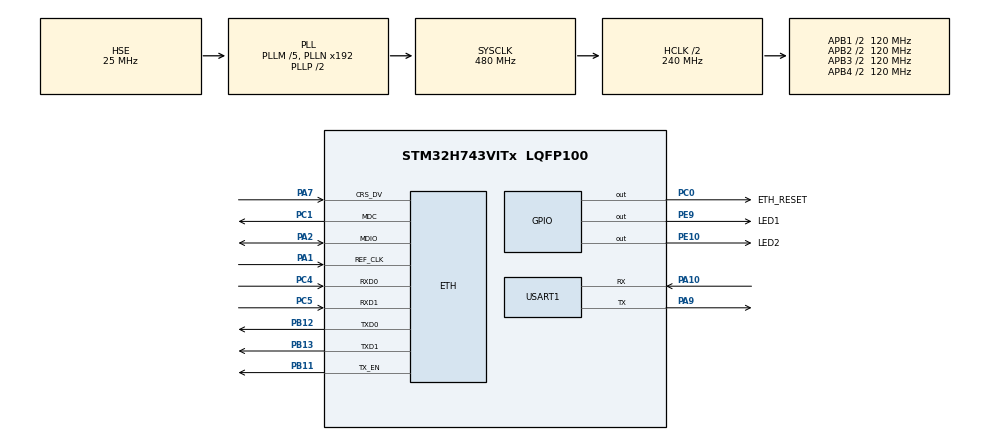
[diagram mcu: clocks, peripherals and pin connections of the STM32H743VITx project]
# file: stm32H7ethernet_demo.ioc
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CORTEX_M7.AccessPermission_S-Cortex_Memory_Protection_Unit_Region1_Settings_S=MPU_REGION_FULL_ACCESS
CORTEX_M7.AccessPermission_S-Cortex_Memory_Protection_Unit_Region2_Settings_S=MPU_REGION_FULL_ACCESS
CORTEX_M7.BaseAddress_S-Cortex_Memory_Protection_Unit_Region1_Settings_S=0x30040000
CORTEX_M7.BaseAddress_S-Cortex_Memory_Protection_Unit_Region2_Settings_S=0x30040000
CORTEX_M7.CPU_DCache=Disabled
CORTEX_M7.CPU_ICache=Disabled
CORTEX_M7.DisableExec_S-Cortex_Memory_Protection_Unit_Region1_Settings_S=MPU_INSTRUCTION_ACCESS_DISABLE
CORTEX_M7.DisableExec_S-Cortex_Memory_Protection_Unit_Region2_Settings_S=MPU_INSTRUCTION_ACCESS_DISABLE
CORTEX_M7.Enable_S-Cortex_Memory_Protection_Unit_Region1_Settings_S=MPU_REGION_ENABLE
CORTEX_M7.Enable_S-Cortex_Memory_Protection_Unit_Region2_Settings_S=MPU_REGION_ENABLE
CORTEX_M7.IsBufferable_S-Cortex_Memory_Protection_Unit_Region2_Settings_S=MPU_ACCESS_BUFFERABLE
CORTEX_M7.IsShareable_S-Cortex_Memory_Protection_Unit_Region1_Settings_S=MPU_ACCESS_SHAREABLE
CORTEX_M7.Size_S-Cortex_Memory_Protection_Unit_Region1_Settings_S=MPU_REGION_SIZE_32KB
CORTEX_M7.Size_S-Cortex_Memory_Protection_Unit_Region2_Settings_S=MPU_REGION_SIZE_256B
CORTEX_M7.TypeExtField_S-Cortex_Memory_Protection_Unit_Region1_Settings_S=MPU_TEX_LEVEL1
CORTEX_M7.default_mode_Activation=1
ETH.MediaInterface=HAL_ETH_RMII_MODE
ETH.RxBufferAddress=0x30042000
ETH.RxDescAddress=0x30040000
ETH.TxDescAddress=0x30040080
FREERTOS.Tasks01=BootstrapTask,24,128,StartBootstrapTask,Default,NULL,Dynamic,NULL,NULL;EthernetRxTask,32,256,StartEthernetRxTask,Default,NULL,Dynamic,NULL,NULL
Mcu.Family=STM32H7
Mcu.Name=STM32H743VITx
Mcu.Package=LQFP100
NVIC.ETH_IRQn=true\:5\:0\:false\:false\:true\:true\:true\:true\:true
NVIC.PriorityGroup=NVIC_PRIORITYGROUP_4
NVIC.TIM6_DAC_IRQn=true\:15\:0\:false\:false\:true\:false\:false\:true\:true
NVIC.TimeBase=TIM6_DAC_IRQn
NVIC.TimeBaseIP=TIM6
PA1.Mode=RMII
PA1.Signal=ETH_REF_CLK
PA10.Mode=Asynchronous
PA10.Signal=USART1_RX
PA2.Mode=RMII
PA2.Signal=ETH_MDIO
PA7.Mode=RMII
PA7.Signal=ETH_CRS_DV
PA9.Mode=Asynchronous
PA9.Signal=USART1_TX
PB11.Mode=RMII
PB11.Signal=ETH_TX_EN
PB12.Mode=RMII
PB12.Signal=ETH_TXD0
PB13.Mode=RMII
PB13.Signal=ETH_TXD1
PC0.GPIO_Label=ETH_RESET
PC0.Signal=GPIO_Output
PC1.Mode=RMII
PC1.Signal=ETH_MDC
PC14-OSC32_IN\ (OSC32_IN).Mode=LSE-External-Oscillator
PC14-OSC32_IN\ (OSC32_IN).Signal=RCC_OSC32_IN
PC15-OSC32_OUT\ (OSC32_OUT).Mode=LSE-External-Oscillator
PC15-OSC32_OUT\ (OSC32_OUT).Signal=RCC_OSC32_OUT
PC4.Mode=RMII
PC4.Signal=ETH_RXD0
PC5.Mode=RMII
PC5.Signal=ETH_RXD1
PE10.GPIO_Label=LED2
PE10.GPIO_PuPd=GPIO_PULLUP
PE10.GPIO_Speed=GPIO_SPEED_FREQ_MEDIUM
PE10.PinState=GPIO_PIN_SET
PE10.Signal=GPIO_Output
PE9.GPIO_Label=LED1
PE9.GPIO_PuPd=GPIO_PULLUP
PE9.GPIO_Speed=GPIO_SPEED_FREQ_MEDIUM
PE9.PinState=GPIO_PIN_SET
PE9.Signal=GPIO_Output
PH0-OSC_IN\ (PH0).Mode=HSE-External-Oscillator
PH0-OSC_IN\ (PH0).Signal=RCC_OSC_IN
PH1-OSC_OUT\ (PH1).Mode=HSE-External-Oscillator
PH1-OSC_OUT\ (PH1).Signal=RCC_OSC_OUT
ProjectManager.HeapSize=0x200
ProjectManager.StackSize=0x400
ProjectManager.TargetToolchain=CMake
RCC.ADCFreq_Value=50390625
RCC.APB1Freq_Value=120000000
RCC.APB2Freq_Value=120000000
RCC.APB3Freq_Value=120000000
RCC.APB4Freq_Value=120000000
RCC.CortexFreq_Value=480000000
RCC.D1PPRE=RCC_APB3_DIV2
RCC.D2PPRE1=RCC_APB1_DIV2
RCC.D2PPRE2=RCC_APB2_DIV2
RCC.D3PPRE=RCC_APB4_DIV2
RCC.DIVM1=5
RCC.DIVN1=192
RCC.HCLKFreq_Value=240000000
RCC.HPRE=RCC_HCLK_DIV2
RCC.PLLFRACN=0
RCC.PLLSourceVirtual=RCC_PLLSOURCE_HSE
RCC.SYSCLKFreq_VALUE=480000000
RCC.SYSCLKSource=RCC_SYSCLKSOURCE_PLLCLK
RCC.USBFreq_Value=480000000
USART1.VirtualMode-Asynchronous=VM_ASYNC
VP_FREERTOS_VS_CMSIS_V2.Mode=CMSIS_V2
VP_MEMORYMAP_VS_MEMORYMAP.Mode=CurAppReg
VP_SYS_VS_tim6.Mode=TIM6
board=custom

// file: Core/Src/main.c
/* USER CODE BEGIN Header */
/**
  ******************************************************************************
  * @file           : main.c
  * @brief          : Main program body
  ******************************************************************************
  * @attention
  *
  * Copyright (c) 2026 STMicroelectronics.
  * All rights reserved.
  *
  * This software is licensed under terms that can be found in the LICENSE file
  * in the root directory of this software component.
  * If no LICENSE file comes with this software, it is provided AS-IS.
  *
  ******************************************************************************
  */
/* USER CODE END Header */
#include "main.h"
#include "FreeRTOS.h"
#include "cmsis_os2.h"
#include "eth.h"
#include "usart.h"
#include "gpio.h"

/* USER CODE BEGIN Includes */
#include "ethernet_driver.h"
#include "ethernet_port.h"
/* USER CODE END Includes */

void SystemClock_Config(void);
static void MPU_Config(void);
void MX_FREERTOS_Init(void);

int main(void)
{

  /* MPU Configuration--------------------------------------------------------*/
  MPU_Config();

  /* MCU Configuration--------------------------------------------------------*/

  /* Reset of all peripherals, Initializes the Flash interface and the Systick. */
  HAL_Init();

  /* Configure the system clock */
  SystemClock_Config();

  /* USER CODE BEGIN SysInit */
  EthernetPort_PrepareDmaMemory();
  /* USER CODE END SysInit */

  /* Initialize all configured peripherals */
  MX_GPIO_Init();
  MX_USART1_UART_Init();
  MX_ETH_Init();
  /* USER CODE BEGIN 2 */
  EthernetDriver_Init();
  /* USER CODE END 2 */

  /* Init scheduler */
  osKernelInitialize();  /* Call init function for freertos objects (in cmsis_os2.c) */
  MX_FREERTOS_Init();

  /* Start scheduler */
  osKernelStart();

  /* We should never get here as control is now taken by the scheduler */

  /* Infinite loop */
  while (1)
  {

  }
}

void SystemClock_Config(void)
{
  RCC_OscInitTypeDef RCC_OscInitStruct = {0};
  RCC_ClkInitTypeDef RCC_ClkInitStruct = {0};

  /** Supply configuration update enable
  */
  HAL_PWREx_ConfigSupply(PWR_LDO_SUPPLY);

  /** Configure the main internal regulator output voltage
  */
  __HAL_PWR_VOLTAGESCALING_CONFIG(PWR_REGULATOR_VOLTAGE_SCALE0);

  while(!__HAL_PWR_GET_FLAG(PWR_FLAG_VOSRDY)) {}

  /** Initializes the RCC Oscillators according to the specified parameters
  * in the RCC_OscInitTypeDef structure.
  */
  RCC_OscInitStruct.OscillatorType = RCC_OSCILLATORTYPE_HSE;
  RCC_OscInitStruct.HSEState = RCC_HSE_ON;
  RCC_OscInitStruct.PLL.PLLState = RCC_PLL_ON;
  RCC_OscInitStruct.PLL.PLLSource = RCC_PLLSOURCE_HSE;
  RCC_OscInitStruct.PLL.PLLM = 5;
  RCC_OscInitStruct.PLL.PLLN = 192;
  RCC_OscInitStruct.PLL.PLLP = 2;
  RCC_OscInitStruct.PLL.PLLQ = 2;
  RCC_OscInitStruct.PLL.PLLR = 2;
  RCC_OscInitStruct.PLL.PLLRGE = RCC_PLL1VCIRANGE_2;
  RCC_OscInitStruct.PLL.PLLVCOSEL = RCC_PLL1VCOWIDE;
  RCC_OscInitStruct.PLL.PLLFRACN = 0;
  if (HAL_RCC_OscConfig(&RCC_OscInitStruct) != HAL_OK)
  {
    Error_Handler();
  }

  /** Initializes the CPU, AHB and APB buses clocks
  */
  RCC_ClkInitStruct.ClockType = RCC_CLOCKTYPE_HCLK|RCC_CLOCKTYPE_SYSCLK
                              |RCC_CLOCKTYPE_PCLK1|RCC_CLOCKTYPE_PCLK2
                              |RCC_CLOCKTYPE_D3PCLK1|RCC_CLOCKTYPE_D1PCLK1;
  RCC_ClkInitStruct.SYSCLKSource = RCC_SYSCLKSOURCE_PLLCLK;
  RCC_ClkInitStruct.SYSCLKDivider = RCC_SYSCLK_DIV1;
  RCC_ClkInitStruct.AHBCLKDivider = RCC_HCLK_DIV2;
  RCC_ClkInitStruct.APB3CLKDivider = RCC_APB3_DIV2;
  RCC_ClkInitStruct.APB1CLKDivider = RCC_APB1_DIV2;
  RCC_ClkInitStruct.APB2CLKDivider = RCC_APB2_DIV2;
  RCC_ClkInitStruct.APB4CLKDivider = RCC_APB4_DIV2;

  if (HAL_RCC_ClockConfig(&RCC_ClkInitStruct, FLASH_LATENCY_4) != HAL_OK)
  {
    Error_Handler();
  }
}

 /* MPU Configuration */

void MPU_Config(void)
{
  MPU_Region_InitTypeDef MPU_InitStruct = {0};

  /* Disables the MPU */
  HAL_MPU_Disable();

  /** Initializes and configures the Region and the memory to be protected
  */
  MPU_InitStruct.Enable = MPU_REGION_ENABLE;
  MPU_InitStruct.Number = MPU_REGION_NUMBER0;
  MPU_InitStruct.BaseAddress = 0x0;
  MPU_InitStruct.Size = MPU_REGION_SIZE_4GB;
  MPU_InitStruct.SubRegionDisable = 0x87;
  MPU_InitStruct.TypeExtField = MPU_TEX_LEVEL0;
  MPU_InitStruct.AccessPermission = MPU_REGION_NO_ACCESS;
  MPU_InitStruct.DisableExec = MPU_INSTRUCTION_ACCESS_DISABLE;
  MPU_InitStruct.IsShareable = MPU_ACCESS_SHAREABLE;
  MPU_InitStruct.IsCacheable = MPU_ACCESS_NOT_CACHEABLE;
  MPU_InitStruct.IsBufferable = MPU_ACCESS_NOT_BUFFERABLE;

  HAL_MPU_ConfigRegion(&MPU_InitStruct);

  /** Initializes and configures the Region and the memory to be protected
  */
  MPU_InitStruct.Number = MPU_REGION_NUMBER1;
  MPU_InitStruct.BaseAddress = 0x30040000;
  MPU_InitStruct.Size = MPU_REGION_SIZE_32KB;
  MPU_InitStruct.SubRegionDisable = 0x0;
  MPU_InitStruct.TypeExtField = MPU_TEX_LEVEL1;
  MPU_InitStruct.AccessPermission = MPU_REGION_FULL_ACCESS;

  HAL_MPU_ConfigRegion(&MPU_InitStruct);

  /** Initializes and configures the Region and the memory to be protected
  */
  MPU_InitStruct.Number = MPU_REGION_NUMBER2;
  MPU_InitStruct.Size = MPU_REGION_SIZE_256B;
  MPU_InitStruct.TypeExtField = MPU_TEX_LEVEL0;
  MPU_InitStruct.IsShareable = MPU_ACCESS_NOT_SHAREABLE;
  MPU_InitStruct.IsBufferable = MPU_ACCESS_BUFFERABLE;

  HAL_MPU_ConfigRegion(&MPU_InitStruct);
  /* Enables the MPU */
  HAL_MPU_Enable(MPU_PRIVILEGED_DEFAULT);

}

void HAL_TIM_PeriodElapsedCallback(TIM_HandleTypeDef *htim)
{
  if (htim->Instance == TIM6)
  {
    HAL_IncTick();
  }
}

void Error_Handler(void)
{
  __disable_irq();
  while (1)
  {
  }
}

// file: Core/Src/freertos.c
/* USER CODE BEGIN Header */
/**
  ******************************************************************************
  * File Name          : freertos.c
  * Description        : Code for freertos applications
  ******************************************************************************
  * @attention
  *
  * Copyright (c) 2026 STMicroelectronics.
  * All rights reserved.
  *
  * This software is licensed under terms that can be found in the LICENSE file
  * in the root directory of this software component.
  * If no LICENSE file comes with this software, it is provided AS-IS.
  *
  ******************************************************************************
  */
/* USER CODE END Header */

#include "FreeRTOS.h"
#include "task.h"
#include "main.h"
#include "FreeRTOS.h"
#include "cmsis_os2.h"

/* USER CODE BEGIN Includes */
#include <stdbool.h>
#include <stdio.h>

#include "ethernet_driver.h"
#include "ethernet_port.h"
#include "ethernet_rtos.h"
#include "lan8720.h"
/* USER CODE END Includes */

/* USER CODE BEGIN PD */
#define LAN8720_PHY_ADDRESS                 0U

#define PHY_READY_TIMEOUT_MS             100U
#define PHY_READY_POLL_PERIOD_MS           5U

#define AUTO_NEGOTIATION_TIMEOUT_MS      5000U
#define AUTO_NEGOTIATION_POLL_PERIOD_MS   100U

#define PHY_LINK_POLL_PERIOD_MS           200U

#define ETHERNET_RX_TEST_ETHERTYPE      0x88B5U
#define ETHERNET_RX_TEST_TARGET_COUNT   1000U
/* USER CODE END PD */

/* USER CODE BEGIN Variables */
static uint32_t g_ethernet_rx_frame_count;
static uint32_t g_ethernet_rx_test_frame_count;
/* USER CODE END Variables */
/* Definitions for BootstrapTask */
osThreadId_t BootstrapTaskHandle;
const osThreadAttr_t BootstrapTask_attributes = {
  .name = "BootstrapTask",
  .stack_size = 128 * 4,
  .priority = (osPriority_t) osPriorityNormal,
};
/* Definitions for EthernetRxTask */
osThreadId_t EthernetRxTaskHandle;
const osThreadAttr_t EthernetRxTask_attributes = {
  .name = "EthernetRxTask",
  .stack_size = 256 * 4,
  .priority = (osPriority_t) osPriorityAboveNormal,
};

/* USER CODE BEGIN FunctionPrototypes */
static bool EthernetBootstrap_StartMac(const Lan8720Status *phy_status);
static void EthernetDemo_RxFrameHandler(const uint8_t *frame, uint16_t length, void *context);
/* USER CODE END FunctionPrototypes */

void StartBootstrapTask(void *argument);
void StartEthernetRxTask(void *argument);

void MX_FREERTOS_Init(void); /* (MISRA C 2004 rule 8.1) */

void MX_FREERTOS_Init(void) {

  /* Create the thread(s) */
  /* creation of BootstrapTask */
  BootstrapTaskHandle = osThreadNew(StartBootstrapTask, NULL, &BootstrapTask_attributes);

  /* creation of EthernetRxTask */
  EthernetRxTaskHandle = osThreadNew(StartEthernetRxTask, NULL, &EthernetRxTask_attributes);

}

void StartBootstrapTask(void *argument)
{
  /* USER CODE BEGIN StartBootstrapTask */
  Lan8720Status phy_status = {0};
  bool phy_ready = false;

  Lan8720Status last_phy_status = {0};
  bool last_status_valid = false;

  uint32_t elapsed_ms = 0U;

  printf("[ETH] BootstrapTask started\r\n");

  /* MX_GPIO_Init() 已经将 PHY nRST 拉低。等待上电稳定后释放 PHY 硬件复位。 */
  osDelay(25U);
  EthernetPort_PhyResetRelease();

  while (elapsed_ms < PHY_READY_TIMEOUT_MS)
  {
    if (Lan8720_IsReady(LAN8720_PHY_ADDRESS))
    {
      phy_ready = true;
      break;
    }

    osDelay(PHY_READY_POLL_PERIOD_MS);
    elapsed_ms += PHY_READY_POLL_PERIOD_MS;
  }

  if (!phy_ready)
  {
    printf("[ETH] PHY ready timeout\r\n");
  }
  else
  {
    printf("[ETH] PHY ready\r\n");

    if (!Lan8720_RestartAutoNegotiation(LAN8720_PHY_ADDRESS))
    {
      printf("[ETH] Auto-negotiation restart failed\r\n");
    }
    else
    {
      printf("[ETH] Auto-negotiation started\r\n");

      elapsed_ms = 0U;

      while (elapsed_ms < AUTO_NEGOTIATION_TIMEOUT_MS)
      {
        if (!Lan8720_GetStatus(LAN8720_PHY_ADDRESS, &phy_status))
        {
          printf("[ETH] PHY status read failed\r\n");
          break;
        }

        if (phy_status.auto_negotiation_complete && phy_status.link_up)
        {
          break;
        }

        osDelay(AUTO_NEGOTIATION_POLL_PERIOD_MS);
        elapsed_ms += AUTO_NEGOTIATION_POLL_PERIOD_MS;
      }

      if (phy_status.auto_negotiation_complete && phy_status.link_up)
      {
        printf("[ETH] Link up\r\n");

        if (phy_status.speed == LAN8720_SPEED_100M)
        {
          printf("[ETH] Speed=100M\r\n");
        }
        else if (phy_status.speed == LAN8720_SPEED_10M)
        {
          printf("[ETH] Speed=10M\r\n");
        }

        if (phy_status.duplex == LAN8720_DUPLEX_FULL)
        {
          printf("[ETH] Duplex=Full\r\n");
        }
        else if (phy_status.duplex == LAN8720_DUPLEX_HALF)
        {
          printf("[ETH] Duplex=Half\r\n");
        }

        if (EthernetBootstrap_StartMac(&phy_status))
        {
          printf("[ETH] MAC/DMA started\r\n");
        }

        last_phy_status = phy_status;
        last_status_valid = true;
      }
      else
      {
        printf("[ETH] Auto-negotiation timeout or link down\r\n");
      }
    }
  }

  /* Infinite loop */
  for(;;)
  {
    Lan8720Status current_phy_status = {0};

    if (Lan8720_GetStatus(LAN8720_PHY_ADDRESS, &current_phy_status))
    {
      if (!last_status_valid || current_phy_status.link_up != last_phy_status.link_up)
      {
        if (current_phy_status.link_up)
        {
          printf("[PHY] Link up\r\n");

          if (current_phy_status.speed == LAN8720_SPEED_100M)
          {
            printf("[PHY] Speed=100M\r\n");
          }
          else if (current_phy_status.speed == LAN8720_SPEED_10M)
          {
            printf("[PHY] Speed=10M\r\n");
          }

          if (current_phy_status.duplex == LAN8720_DUPLEX_FULL)
          {
            printf("[PHY] Duplex=Full\r\n");
          }
          else if (current_phy_status.duplex == LAN8720_DUPLEX_HALF)
          {
            printf("[PHY] Duplex=Half\r\n");
          }
        }
        else
        {
          printf("[PHY] Link down\r\n");
        }

        last_phy_status = current_phy_status;
        last_status_valid = true;
      }
    }

    osDelay(PHY_LINK_POLL_PERIOD_MS);
  }

  /* USER CODE END StartBootstrapTask */
}

void StartEthernetRxTask(void *argument)
{
  /* USER CODE BEGIN StartEthernetRxTask */
  EthernetRtos_SetRxFrameHandler(EthernetDemo_RxFrameHandler, NULL);

  printf("[ETH] EthernetRxTask started\r\n");

  EthernetRtos_RxTask(argument);
  /* USER CODE END StartEthernetRxTask */
}

/* USER CODE BEGIN Application */
/**
 * @brief  根据 PHY 协商结果配置并启动 Ethernet MAC/DMA。
 *
 * @param[in] phy_status PHY 当��链路状态。
 *
 * @retval true   MAC 配置并启动成功。
 * @retval false  PHY 状态无效、RX Runtime 未就绪或 Ethernet 操作失败。
 */
static bool EthernetBootstrap_StartMac(const Lan8720Status *phy_status)
{
  EthernetLinkSpeed speed;
  EthernetDuplexMode duplex;

  if ((phy_status == NULL) ||
      !phy_status->link_up ||
      !phy_status->auto_negotiation_complete)
  {
    return false;
  }

  if (!EthernetRtos_IsReady())
  {
    printf("[ETH] Ethernet RX runtime not ready\r\n");
    return false;
  }

  if (phy_status->speed == LAN8720_SPEED_100M)
  {
    speed = ETHERNET_LINK_SPEED_100M;
  }
  else if (phy_status->speed == LAN8720_SPEED_10M)
  {
    speed = ETHERNET_LINK_SPEED_10M;
  }
  else
  {
    printf("[ETH] Unsupported PHY speed\r\n");
    return false;
  }

  if (phy_status->duplex == LAN8720_DUPLEX_FULL)
  {
    duplex = ETHERNET_DUPLEX_FULL;
  }
  else if (phy_status->duplex == LAN8720_DUPLEX_HALF)
  {
    duplex = ETHERNET_DUPLEX_HALF;
  }
  else
  {
    printf("[ETH] Unsupported PHY duplex mode\r\n");
    return false;
  }

  if (!EthernetDriver_ConfigureLink(speed, duplex))
  {
    printf("[ETH] MAC link config failed\r\n");
    return false;
  }

  if (!EthernetDriver_Start())
  {
    printf("[ETH] MAC/DMA start failed\r\n");
    return false;
  }

  return true;
}

/**
 * @brief  Demo RX Frame 处理函数。
 */
static void EthernetDemo_RxFrameHandler(const uint8_t *frame, uint16_t length, void *context)
{
  uint16_t ether_type;

  (void)context;

  if (frame == NULL)
  {
    return;
  }

  g_ethernet_rx_frame_count++;

  if (length < 14U)
  {
    return;
  }

  ether_type = ((uint16_t)frame[12] << 8) | (uint16_t)frame[13];

  if (ether_type != ETHERNET_RX_TEST_ETHERTYPE)
  {
    return;
  }

  g_ethernet_rx_test_frame_count++;

  if (g_ethernet_rx_test_frame_count == ETHERNET_RX_TEST_TARGET_COUNT)
  {
    printf("[ETH] Async RX test 1000/1000 PASS, total=%lu\r\n",
           (unsigned long)g_ethernet_rx_frame_count);
  }
}

/* USER CODE END Application */
